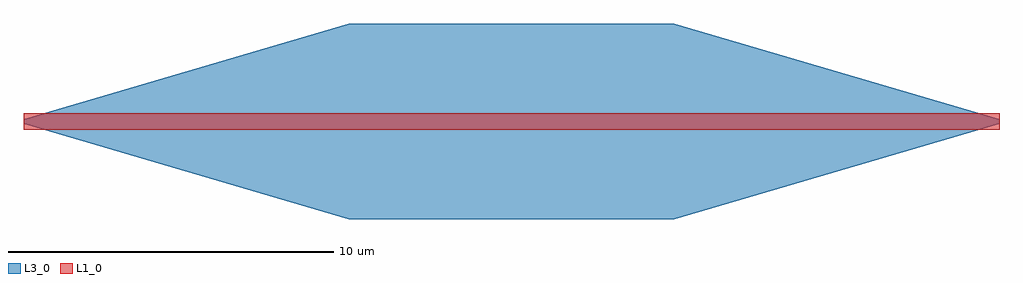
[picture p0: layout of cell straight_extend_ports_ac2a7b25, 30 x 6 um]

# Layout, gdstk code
from math import pi, radians
import gdstk
lib = gdstk.Library(unit=1e-6, precision=1e-09)
def R(c, l, rs):  # rectangles x0, y0, x1, y1
    for r in rs: c.add(gdstk.rectangle(r[:2], r[2:], *l))
def P(c, l, *ps):  # polygons
    for p in ps: c.add(gdstk.Polygon(p, *l))
L1_0 = (1, 0)
L3_0 = (3, 0)

straight_7692a032 = lib.new_cell('straight_7692a032')
R(straight_7692a032, L1_0, [(0,-0.25,10,0.25)])
R(straight_7692a032, L3_0, [(0,-3,10,3)])

taper_strip_to_ridge = lib.new_cell('taper_strip_to_ridge')
R(taper_strip_to_ridge, L1_0, [(0,-0.25,10,0.25)])
P(taper_strip_to_ridge, L3_0, [(0,0.075),(10,3),(10,-3),(0,-0.075)])

straight_extend_ports_ac = lib.new_cell('straight_extend_ports_ac2a7b25')
straight_extend_ports_ac.add(gdstk.Reference(straight_7692a032, (0,0)))
straight_extend_ports_ac.add(gdstk.Reference(taper_strip_to_ridge, (-10,0)))
straight_extend_ports_ac.add(gdstk.Reference(taper_strip_to_ridge, (20,0), rotation=pi))

lib.write_gds('straight_extend_ports_ac2a7b25.gds')
